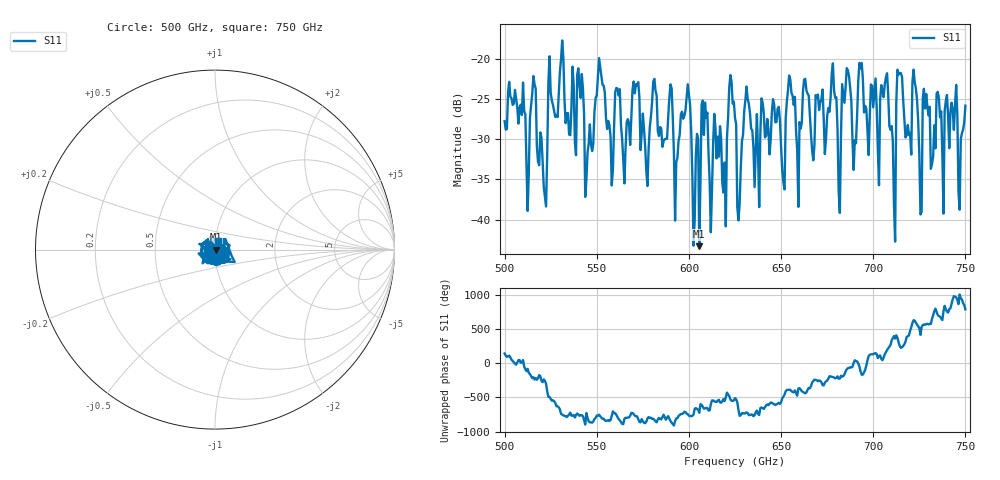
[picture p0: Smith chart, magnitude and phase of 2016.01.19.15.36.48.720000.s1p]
!Created with skrf (http://scikit-rf.org).
# GHz S RI R 50.0
!freq ReS11 ImS11
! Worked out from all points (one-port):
!   401 points, 500 GHz to 750 GHz, reference 50 ohm
!   lowest |S11| = -43.3 dB at 605.6 GHz (marker M1), VSWR 1.01, Z = 50.7 - j0.0545 ohm
!   |S11| at or under -10 dB: start of sweep to end of sweep
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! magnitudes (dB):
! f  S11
! 500 GHz  -27.8
! 512.5 GHz  -38.9
! 515.6 GHz  -22.2
! 521.9 GHz  -37.2
! 525 GHz  -24.3
! 531.2 GHz  -17.8
! 545 GHz  -31.7
! 551.9 GHz  -21.0
! 557.5 GHz  -29.8
! 562.5 GHz  -23.8
! 590 GHz  -23.2
! 593.8 GHz  -32.3
! 599.4 GHz  -23.2
! 602.5 GHz  -43.3
! 605.6 GHz  -43.3
! 625 GHz  -27.4
! 627.5 GHz  -38.1
! 631.2 GHz  -23.5
! 651.2 GHz  -35.3
! 656.2 GHz  -24.6
! 659.4 GHz  -38.4
! 678.8 GHz  -24.0
! 681.2 GHz  -36.6
! 687.5 GHz  -23.7
! 710.6 GHz  -30.3
! 714.4 GHz  -21.8
! 718.8 GHz  -28.3
! 750 GHz  -25.9
